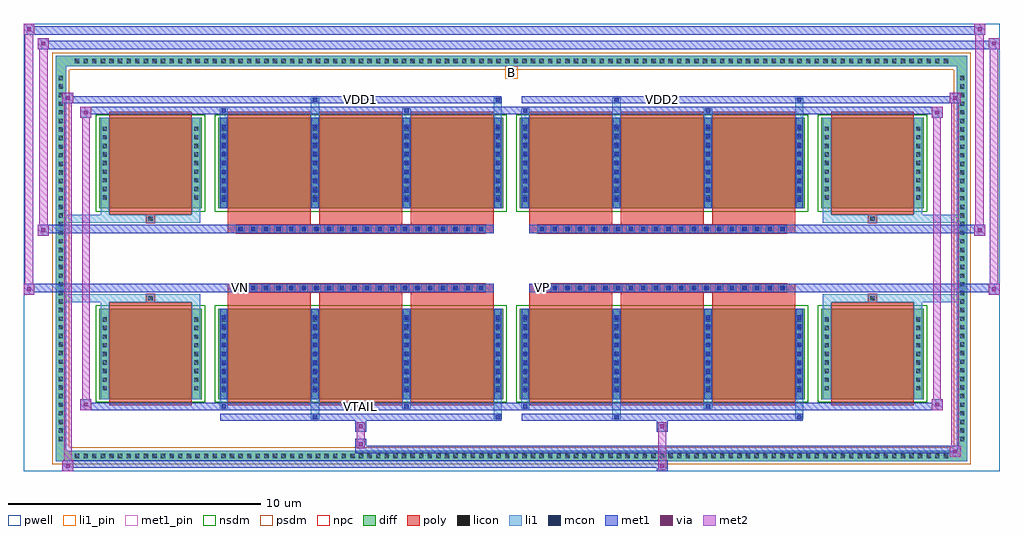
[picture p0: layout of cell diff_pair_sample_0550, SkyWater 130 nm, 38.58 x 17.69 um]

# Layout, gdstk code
import gdstk
lib = gdstk.Library(unit=1e-6, precision=5e-09)
def R(c, l, rs):  # rectangles x0, y0, x1, y1
    for r in rs: c.add(gdstk.rectangle(r[:2], r[2:], *l))
def A(c, l, x, y, w, h, nx, ny, dx, dy):  # array of equal rectangles
    R(c, l, [(x+i*dx, y+j*dy, x+i*dx+w, y+j*dy+h) for i in range(nx) for j in range(ny)])
def P(c, l, *ps):  # polygons
    for p in ps: c.add(gdstk.Polygon(p, *l))
pwell = (64, 44)
diff = (65, 20)
poly = (66, 20)
licon = (66, 44)
li1_pin = (67, 16)
li1 = (67, 20)
mcon = (67, 44)
met1_pin = (68, 16)
met1 = (68, 20)
via = (68, 44)
met2 = (69, 20)
nsdm = (93, 44)
psdm = (94, 20)
npc = (95, 20)

diff_pair_sample_0550 = lib.new_cell('diff_pair_sample_0550')
R(diff_pair_sample_0550, pwell, [(-19.29,-8.41,19.29,9.28), (-16.61,-6.6,-0.01,-0.8), (0.01,-6.6,16.61,-0.8), (-16.61,0.8,-0.01,6.6), (0.01,0.8,16.61,6.6)])
A(diff_pair_sample_0550, diff, -17.375, -8.01, 0.41, 0.41, 102, 2, 0.34, 15.61)
A(diff_pair_sample_0550, diff, -18.02, -7.345, 0.41, 0.41, 1, 43, 0, 0.34)
A(diff_pair_sample_0550, diff, 17.61, -7.345, 0.41, 0.41, 1, 43, 0, 0.34)
R(diff_pair_sample_0550, diff, [(-17.375,-8.01,17.375,-7.6), (-18.02,-7.345,-17.61,7.345), (17.61,-7.345,18.02,7.345), (-16.3,-5.555,-12.24,-1.985), (-11.6,-5.555,-0.32,-1.985), (0.32,-5.555,11.6,-1.985), (12.24,-5.555,16.3,-1.985), (-16.3,1.985,-12.24,5.555), (-11.6,1.985,-0.32,5.555), (0.32,1.985,11.6,5.555), (12.24,1.985,16.3,5.555), (-17.375,7.6,17.375,8.01)])
P(diff_pair_sample_0550, diff, [(18.02,8.01),(-18.02,8.01),(-18.02,-7.6),(-17.61,-7.6),(-17.61,7.6),(17.61,7.6),(17.61,-7.6),(-17.61,-7.6),(-18.02,-7.6),(-18.02,-8.01),(18.02,-8.01)])
A(diff_pair_sample_0550, poly, -11.21, -5.805, 3.28, 4.07, 3, 2, 3.61, 7.54)
A(diff_pair_sample_0550, poly, 0.71, -5.805, 3.28, 4.07, 3, 2, 3.61, 7.54)
A(diff_pair_sample_0550, poly, -11.21, -1.735, 3.28, 0.405, 3, 2, 3.61, 3.065)
A(diff_pair_sample_0550, poly, 0.71, -1.735, 3.28, 0.405, 3, 2, 3.61, 3.065)
A(diff_pair_sample_0550, poly, -10.875, -1.33, 0.33, 0.33, 20, 2, 0.5, 2.33)
A(diff_pair_sample_0550, poly, 1.045, -1.33, 0.33, 0.33, 20, 2, 0.5, 2.33)
R(diff_pair_sample_0550, poly, [(-15.91,-5.805,-12.63,-1.735), (12.63,-5.805,15.91,-1.735), (-14.435,-1.735,-14.105,-1.405), (-14.435,-1.735,-14.105,-1.405), (14.105,-1.735,14.435,-1.405), (14.105,-1.735,14.435,-1.405), (-11.21,-1.33,-0.71,-1), (0.71,-1.33,11.21,-1), (-11.21,1,-0.71,1.33), (0.71,1,11.21,1.33), (-14.435,1.405,-14.105,1.735), (-14.435,1.405,-14.105,1.735), (14.105,1.405,14.435,1.735), (14.105,1.405,14.435,1.735), (-15.91,1.735,-12.63,5.805), (12.63,1.735,15.91,5.805)])
A(diff_pair_sample_0550, licon, -17.255, -7.89, 0.17, 0.17, 102, 2, 0.34, 15.61)
A(diff_pair_sample_0550, licon, -17.9, -7.225, 0.17, 0.17, 1, 43, 0, 0.34)
A(diff_pair_sample_0550, licon, 17.73, -7.225, 0.17, 0.17, 1, 43, 0, 0.34)
A(diff_pair_sample_0550, licon, -16.16, -5.215, 0.17, 0.17, 1, 9, 0, 0.34)
A(diff_pair_sample_0550, licon, -12.55, -5.215, 0.17, 0.17, 1, 9, 0, 0.34)
A(diff_pair_sample_0550, licon, -11.46, -5.215, 0.17, 0.17, 4, 9, 3.61, 0.34)
A(diff_pair_sample_0550, licon, 0.46, -5.215, 0.17, 0.17, 4, 9, 3.61, 0.34)
A(diff_pair_sample_0550, licon, 12.38, -5.215, 0.17, 0.17, 1, 9, 0, 0.34)
A(diff_pair_sample_0550, licon, 15.99, -5.215, 0.17, 0.17, 1, 9, 0, 0.34)
A(diff_pair_sample_0550, licon, -10.795, -1.25, 0.17, 0.17, 20, 2, 0.5, 2.33)
A(diff_pair_sample_0550, licon, 1.125, -1.25, 0.17, 0.17, 20, 2, 0.5, 2.33)
A(diff_pair_sample_0550, licon, -16.16, 2.325, 0.17, 0.17, 1, 9, 0, 0.34)
A(diff_pair_sample_0550, licon, -12.55, 2.325, 0.17, 0.17, 1, 9, 0, 0.34)
A(diff_pair_sample_0550, licon, -11.46, 2.325, 0.17, 0.17, 4, 9, 3.61, 0.34)
A(diff_pair_sample_0550, licon, 0.46, 2.325, 0.17, 0.17, 4, 9, 3.61, 0.34)
A(diff_pair_sample_0550, licon, 12.38, 2.325, 0.17, 0.17, 1, 9, 0, 0.34)
A(diff_pair_sample_0550, licon, 15.99, 2.325, 0.17, 0.17, 1, 9, 0, 0.34)
R(diff_pair_sample_0550, licon, [(-14.355,-1.655,-14.185,-1.485), (14.185,-1.655,14.355,-1.485), (-14.355,1.485,-14.185,1.655), (14.185,1.485,14.355,1.655)])
R(diff_pair_sample_0550, li1_pin, [(-0.25,7.1,0.25,7.6)])
A(diff_pair_sample_0550, li1, -17.335, -7.97, 0.33, 0.33, 102, 2, 0.34, 15.61)
A(diff_pair_sample_0550, li1, -17.98, -7.305, 0.33, 0.33, 1, 43, 0, 0.34)
A(diff_pair_sample_0550, li1, 17.65, -7.305, 0.33, 0.33, 1, 43, 0, 0.34)
A(diff_pair_sample_0550, li1, -11.54, -5.555, 0.33, 3.57, 4, 2, 3.61, 7.54)
A(diff_pair_sample_0550, li1, 0.38, -5.555, 0.33, 3.57, 4, 2, 3.61, 7.54)
A(diff_pair_sample_0550, li1, -16.24, -5.295, 0.33, 0.33, 1, 9, 0, 0.34)
A(diff_pair_sample_0550, li1, -12.63, -5.295, 0.33, 0.33, 1, 9, 0, 0.34)
A(diff_pair_sample_0550, li1, -11.54, -5.295, 0.33, 0.33, 4, 9, 3.61, 0.34)
A(diff_pair_sample_0550, li1, -11.46, -5.295, 0.17, 0.17, 4, 9, 3.61, 0.36)
A(diff_pair_sample_0550, li1, -11.46, -5.295, 0.17, 3.05, 4, 2, 3.61, 7.54)
A(diff_pair_sample_0550, li1, 0.38, -5.295, 0.33, 0.33, 4, 9, 3.61, 0.34)
A(diff_pair_sample_0550, li1, 0.46, -5.295, 0.17, 0.17, 4, 9, 3.61, 0.36)
A(diff_pair_sample_0550, li1, 0.46, -5.295, 0.17, 3.05, 4, 2, 3.61, 7.54)
A(diff_pair_sample_0550, li1, 12.3, -5.295, 0.33, 0.33, 1, 9, 0, 0.34)
A(diff_pair_sample_0550, li1, 15.91, -5.295, 0.33, 0.33, 1, 9, 0, 0.34)
A(diff_pair_sample_0550, li1, -10.875, -1.33, 0.33, 0.33, 20, 2, 0.5, 2.33)
A(diff_pair_sample_0550, li1, 1.045, -1.33, 0.33, 0.33, 20, 2, 0.5, 2.33)
A(diff_pair_sample_0550, li1, -16.24, 2.245, 0.33, 0.33, 1, 9, 0, 0.34)
A(diff_pair_sample_0550, li1, -12.63, 2.245, 0.33, 0.33, 1, 9, 0, 0.34)
A(diff_pair_sample_0550, li1, -11.54, 2.245, 0.33, 0.33, 4, 9, 3.61, 0.34)
A(diff_pair_sample_0550, li1, -11.46, 2.245, 0.17, 0.17, 4, 9, 3.61, 0.36)
A(diff_pair_sample_0550, li1, 0.38, 2.245, 0.33, 0.33, 4, 9, 3.61, 0.34)
A(diff_pair_sample_0550, li1, 0.46, 2.245, 0.17, 0.17, 4, 9, 3.61, 0.36)
A(diff_pair_sample_0550, li1, 12.3, 2.245, 0.33, 0.33, 1, 9, 0, 0.34)
A(diff_pair_sample_0550, li1, 15.91, 2.245, 0.33, 0.33, 1, 9, 0, 0.34)
R(diff_pair_sample_0550, li1, [(-18.02,-8.01,-17.61,-7.6), (-18.02,-8.01,-17.61,-7.6), (-17.61,-8.01,17.61,-7.6), (17.61,-8.01,18.02,-7.6), (17.61,-8.01,18.02,-7.6), (-18.02,-7.6,-17.61,7.6), (17.61,-7.6,18.02,7.6), (-7.93,-6.36,-7.6,-5.555), (-7.85,-6.36,-7.68,-6.19), (-0.71,-6.36,-0.38,-5.555), (-0.63,-6.36,-0.46,-6.19), (3.99,-6.36,4.32,-5.555), (4.07,-6.36,4.24,-6.19), (11.21,-6.36,11.54,-5.555), (11.29,-6.36,11.46,-6.19), (-11.54,-5.93,-11.21,-5.555), (-11.46,-5.93,-11.29,-5.76), (-4.32,-5.93,-3.99,-5.555), (-4.24,-5.93,-4.07,-5.76), (0.38,-5.93,0.71,-5.555), (0.46,-5.93,0.63,-5.76), (7.6,-5.93,7.93,-5.555), (7.68,-5.93,7.85,-5.76), (-16.24,-5.555,-15.91,-1.985), (-12.63,-5.555,-12.3,-1.985), (12.3,-5.555,12.63,-1.985), (15.91,-5.555,16.24,-1.985), (-16.24,-1.985,-15.91,-1.405), (-12.63,-1.985,-12.3,-1.405), (12.3,-1.985,12.63,-1.405), (15.91,-1.985,16.24,-1.405), (-18.02,-1.735,-14.435,-1.405), (-16.24,-1.735,-14.435,-1.405), (-14.435,-1.735,-14.105,-1.405), (-14.105,-1.735,-12.3,-1.405), (12.3,-1.735,14.105,-1.405), (14.105,-1.735,14.435,-1.405), (14.105,-1.735,18.02,-1.405), (14.435,-1.735,16.24,-1.405), (-18.02,1.405,-14.435,1.735), (-16.24,1.405,-14.435,1.735), (-16.24,1.405,-15.91,1.985), (-14.435,1.405,-14.105,1.735), (-14.105,1.405,-12.3,1.735), (-12.63,1.405,-12.3,1.985), (12.3,1.405,14.105,1.735), (12.3,1.405,12.63,1.985), (14.105,1.405,14.435,1.735), (14.105,1.405,18.02,1.735), (14.435,1.405,16.24,1.735), (15.91,1.405,16.24,1.985), (-16.24,1.985,-15.91,5.555), (-12.63,1.985,-12.3,5.555), (12.3,1.985,12.63,5.555), (15.91,1.985,16.24,5.555), (-11.54,5.555,-11.21,5.93), (-7.93,5.555,-7.6,6.36), (-4.32,5.555,-3.99,5.93), (-0.71,5.555,-0.38,6.36), (0.38,5.555,0.71,5.93), (3.99,5.555,4.32,6.36), (7.6,5.555,7.93,5.93), (11.21,5.555,11.54,6.36), (-11.46,5.76,-11.29,5.93), (-4.24,5.76,-4.07,5.93), (0.46,5.76,0.63,5.93), (7.68,5.76,7.85,5.93), (-7.85,6.19,-7.68,6.36), (-0.63,6.19,-0.46,6.36), (4.07,6.19,4.24,6.36), (11.29,6.19,11.46,6.36), (-18.02,7.6,-17.61,8.01), (-18.02,7.6,-17.61,8.01), (-17.61,7.6,17.61,8.01), (17.61,7.6,18.02,8.01), (17.61,7.6,18.02,8.01)])
A(diff_pair_sample_0550, mcon, -11.46, -5.295, 0.17, 0.17, 4, 9, 3.61, 0.36)
A(diff_pair_sample_0550, mcon, 0.46, -5.295, 0.17, 0.17, 4, 9, 3.61, 0.36)
A(diff_pair_sample_0550, mcon, -10.795, -1.25, 0.17, 0.17, 20, 2, 0.5, 2.33)
A(diff_pair_sample_0550, mcon, 1.125, -1.25, 0.17, 0.17, 20, 2, 0.5, 2.33)
A(diff_pair_sample_0550, mcon, -11.46, 2.245, 0.17, 0.17, 4, 9, 3.61, 0.36)
A(diff_pair_sample_0550, mcon, 0.46, 2.245, 0.17, 0.17, 4, 9, 3.61, 0.36)
R(diff_pair_sample_0550, mcon, [(-7.85,-6.36,-7.68,-6.19), (-0.63,-6.36,-0.46,-6.19), (4.07,-6.36,4.24,-6.19), (11.29,-6.36,11.46,-6.19), (-11.46,-5.93,-11.29,-5.76), (-4.24,-5.93,-4.07,-5.76), (0.46,-5.93,0.63,-5.76), (7.68,-5.93,7.85,-5.76), (-11.46,5.76,-11.29,5.93), (-4.24,5.76,-4.07,5.93), (0.46,5.76,0.63,5.93), (7.68,5.76,7.85,5.93), (-7.85,6.19,-7.68,6.36), (-0.63,6.19,-0.46,6.36), (4.07,6.19,4.24,6.36), (11.29,6.19,11.46,6.36)])
R(diff_pair_sample_0550, met1_pin, [(-6.095,-5.97,-5.825,-5.7), (-10.845,-1.29,-10.575,-1.02), (1.075,-1.29,1.345,-1.02), (-6.095,6.15,-5.825,6.42), (5.825,6.15,6.095,6.42)])
A(diff_pair_sample_0550, met1, -11.52, -5.555, 0.29, 3.57, 4, 2, 3.61, 7.54)
A(diff_pair_sample_0550, met1, 0.4, -5.555, 0.29, 3.57, 4, 2, 3.61, 7.54)
A(diff_pair_sample_0550, met1, -11.52, -5.355, 0.29, 0.29, 4, 9, 3.61, 0.36)
A(diff_pair_sample_0550, met1, 0.4, -5.355, 0.29, 0.29, 4, 9, 3.61, 0.36)
A(diff_pair_sample_0550, met1, -10.855, -1.31, 0.29, 0.29, 20, 2, 0.5, 2.33)
A(diff_pair_sample_0550, met1, 1.065, -1.31, 0.29, 0.29, 20, 2, 0.5, 2.33)
A(diff_pair_sample_0550, met1, -11.52, 2.185, 0.29, 0.29, 4, 9, 3.61, 0.36)
A(diff_pair_sample_0550, met1, 0.4, 2.185, 0.29, 0.29, 4, 9, 3.61, 0.36)
R(diff_pair_sample_0550, met1, [(-17.75,-8.41,-17.32,-7.98), (5.745,-8.41,6.175,-7.98), (-17.75,-8.27,6.175,-7.98), (17.32,-7.84,17.75,-7.41), (-6.175,-7.7,17.75,-7.41), (-6.175,-7.56,-5.745,-7.13), (-6.175,-6.85,-5.745,-6.42), (5.745,-6.85,6.175,-6.42), (-11.52,-6.42,-0.4,-6.13), (-7.91,-6.42,-7.62,-6.13), (-0.69,-6.42,-0.4,-6.13), (0.4,-6.42,11.52,-6.13), (4.01,-6.42,4.3,-6.13), (11.23,-6.42,11.52,-6.13), (-17.04,-5.99,-16.61,-5.56), (-17.04,-5.99,-11.52,-5.7), (-11.52,-5.99,-11.23,-5.7), (-11.52,-5.99,-0.4,-5.7), (-4.3,-5.99,-4.01,-5.7), (-0.4,-5.99,0.4,-5.7), (0.4,-5.99,0.69,-5.7), (0.4,-5.99,11.52,-5.7), (7.62,-5.99,7.91,-5.7), (11.52,-5.99,17.04,-5.7), (16.61,-5.99,17.04,-5.56), (-19.29,-1.43,-18.86,-1), (18.86,-1.43,19.29,-1), (-19.29,-1.33,-0.71,-1), (-11.21,-1.33,-0.71,-1), (0.71,-1.33,11.21,-1), (0.71,-1.33,19.29,-1), (-18.72,0.9,-18.29,1.33), (18.29,0.9,18.72,1.33), (-18.72,1,-11.21,1.33), (-11.21,1,-0.71,1.33), (0.71,1,11.21,1.33), (11.21,1,18.72,1.33), (-17.04,5.56,-16.61,5.99), (16.61,5.56,17.04,5.99), (-17.04,5.7,-11.52,5.99), (-11.52,5.7,-11.23,5.99), (-11.52,5.7,-0.4,5.99), (-4.3,5.7,-4.01,5.99), (-0.4,5.7,0.4,5.99), (0.4,5.7,0.69,5.99), (0.4,5.7,11.52,5.99), (7.62,5.7,7.91,5.99), (11.52,5.7,17.04,5.99), (-17.75,6.13,-17.32,6.56), (-17.75,6.13,-11.52,6.42), (-11.52,6.13,-0.4,6.42), (-7.91,6.13,-7.62,6.42), (-0.69,6.13,-0.4,6.42), (0.4,6.13,11.52,6.42), (4.01,6.13,4.3,6.42), (11.23,6.13,11.52,6.42), (11.52,6.13,17.75,6.42), (17.32,6.13,17.75,6.56), (-18.72,8.28,-18.29,8.71), (-18.72,8.28,-16.61,8.61), (-16.61,8.28,16.61,8.61), (16.61,8.28,19.29,8.61), (18.86,8.28,19.29,8.71), (-19.29,8.85,-18.86,9.28), (-19.29,8.85,-16.61,9.18), (-16.61,8.85,16.61,9.18), (16.61,8.85,18.72,9.18), (18.29,8.85,18.72,9.28)])
R(diff_pair_sample_0550, via, [(-17.61,-8.27,-17.46,-8.12), (5.885,-8.27,6.035,-8.12), (17.46,-7.7,17.61,-7.55), (-6.035,-7.42,-5.885,-7.27), (-6.035,-6.71,-5.885,-6.56), (5.885,-6.71,6.035,-6.56), (-16.9,-5.85,-16.75,-5.7), (16.75,-5.85,16.9,-5.7), (-19.15,-1.29,-19,-1.14), (19,-1.29,19.15,-1.14), (-18.58,1.04,-18.43,1.19), (18.43,1.04,18.58,1.19), (-16.9,5.7,-16.75,5.85), (16.75,5.7,16.9,5.85), (-17.61,6.27,-17.46,6.42), (17.46,6.27,17.61,6.42), (-18.58,8.42,-18.43,8.57), (19,8.42,19.15,8.57), (-19.15,8.99,-19,9.14), (18.43,8.99,18.58,9.14)])
R(diff_pair_sample_0550, met2, [(-17.75,-8.41,-17.32,-7.98), (-17.68,-8.41,-17.39,6.56), (-17.39,-8.41,-17.32,-7.98), (-17.7,-8.36,-17.37,-8.03), (5.795,-8.36,6.125,-8.03), (5.795,-8.03,6.125,-6.8), (17.32,-7.84,17.75,-7.41), (17.39,-7.84,17.68,6.56), (17.68,-7.84,17.75,-7.41), (17.37,-7.79,17.7,-7.46), (-6.125,-7.51,-5.795,-7.18), (-6.125,-7.18,-5.795,-6.8), (-6.125,-6.8,-5.795,-6.47), (5.795,-6.8,6.125,-6.47), (-17.04,-5.99,-16.61,-5.56), (-16.97,-5.99,-16.68,5.99), (-16.68,-5.99,-16.61,-5.56), (16.61,-5.99,17.04,-5.56), (16.68,-5.99,16.97,5.99), (16.97,-5.99,17.04,-5.56), (-16.99,-5.94,-16.66,-5.61), (16.66,-5.94,16.99,-5.61), (-19.29,-1.43,-18.86,-1), (-19.24,-1.43,-18.91,9.28), (-18.91,-1.43,-18.86,-1), (18.86,-1.43,19.29,-1), (18.91,-1.43,19.24,8.71), (19.24,-1.43,19.29,-1), (-19.24,-1.38,-18.91,-1.05), (18.91,-1.38,19.24,-1.05), (-18.72,0.9,-18.29,1.33), (-18.67,0.9,-18.34,8.71), (-18.34,0.9,-18.29,1.33), (18.29,0.9,18.72,1.33), (18.34,0.9,18.67,9.28), (18.67,0.9,18.72,1.33), (-18.67,0.95,-18.34,1.28), (18.34,0.95,18.67,1.28), (-17.04,5.56,-16.61,5.99), (-16.68,5.56,-16.61,5.99), (16.61,5.56,17.04,5.99), (16.97,5.56,17.04,5.99), (-16.99,5.61,-16.66,5.94), (16.66,5.61,16.99,5.94), (-17.75,6.13,-17.32,6.56), (-17.39,6.13,-17.32,6.56), (17.32,6.13,17.75,6.56), (17.68,6.13,17.75,6.56), (-17.7,6.18,-17.37,6.51), (17.37,6.18,17.7,6.51), (-18.72,8.28,-18.29,8.71), (-18.34,8.28,-18.29,8.71), (18.86,8.28,19.29,8.71), (19.24,8.28,19.29,8.71), (-18.67,8.33,-18.34,8.66), (18.91,8.33,19.24,8.66), (-19.29,8.85,-18.86,9.28), (-18.91,8.85,-18.86,9.28), (18.29,8.85,18.72,9.28), (18.67,8.85,18.72,9.28), (-19.24,8.9,-18.91,9.23), (18.34,8.9,18.67,9.23)])
R(diff_pair_sample_0550, nsdm, [(-16.43,-5.685,-12.11,-1.855), (-11.73,-5.685,-0.19,-1.855), (0.19,-5.685,11.73,-1.855), (12.11,-5.685,16.43,-1.855), (-16.43,1.855,-12.11,5.685), (-11.73,1.855,-0.19,5.685), (0.19,1.855,11.73,5.685), (12.11,1.855,16.43,5.685)])
P(diff_pair_sample_0550, psdm, [(18.15,8.14),(-18.15,8.14),(-18.15,-7.47),(-17.48,-7.47),(-17.48,7.47),(17.48,7.47),(17.48,-7.47),(-17.48,-7.47),(-18.15,-7.47),(-18.15,-8.14),(18.15,-8.14)])
A(diff_pair_sample_0550, npc, -10.895, -1.35, 0.37, 0.37, 20, 2, 0.5, 2.33)
A(diff_pair_sample_0550, npc, 1.025, -1.35, 0.37, 0.37, 20, 2, 0.5, 2.33)
R(diff_pair_sample_0550, npc, [(-14.455,-1.755,-14.085,-1.385), (14.085,-1.755,14.455,-1.385), (-10.895,-1.35,-10.025,-0.98), (-10.895,-1.35,-10.025,-0.98), (-10.395,-1.35,-9.525,-0.98), (-10.395,-1.35,-9.525,-0.98), (-9.895,-1.35,-9.025,-0.98), (-9.895,-1.35,-9.025,-0.98), (-9.395,-1.35,-8.525,-0.98), (-9.395,-1.35,-8.525,-0.98), (-8.895,-1.35,-8.025,-0.98), (-8.895,-1.35,-8.025,-0.98), (-8.395,-1.35,-7.525,-0.98), (-8.395,-1.35,-7.525,-0.98), (-7.895,-1.35,-7.025,-0.98), (-7.895,-1.35,-7.025,-0.98), (-7.395,-1.35,-6.525,-0.98), (-7.395,-1.35,-6.525,-0.98), (-6.895,-1.35,-6.025,-0.98), (-6.895,-1.35,-6.025,-0.98), (-6.395,-1.35,-5.525,-0.98), (-6.395,-1.35,-5.525,-0.98), (-5.895,-1.35,-5.025,-0.98), (-5.895,-1.35,-5.025,-0.98), (-5.395,-1.35,-4.525,-0.98), (-5.395,-1.35,-4.525,-0.98), (-4.895,-1.35,-4.025,-0.98), (-4.895,-1.35,-4.025,-0.98), (-4.395,-1.35,-3.525,-0.98), (-4.395,-1.35,-3.525,-0.98), (-3.895,-1.35,-3.025,-0.98), (-3.895,-1.35,-3.025,-0.98), (-3.395,-1.35,-2.525,-0.98), (-3.395,-1.35,-2.525,-0.98), (-2.895,-1.35,-2.025,-0.98), (-2.895,-1.35,-2.025,-0.98), (-2.395,-1.35,-1.525,-0.98), (-2.395,-1.35,-1.525,-0.98), (-1.895,-1.35,-1.025,-0.98), (-1.895,-1.35,-1.025,-0.98), (1.025,-1.35,1.895,-0.98), (1.025,-1.35,1.895,-0.98), (1.525,-1.35,2.395,-0.98), (1.525,-1.35,2.395,-0.98), (2.025,-1.35,2.895,-0.98), (2.025,-1.35,2.895,-0.98), (2.525,-1.35,3.395,-0.98), (2.525,-1.35,3.395,-0.98), (3.025,-1.35,3.895,-0.98), (3.025,-1.35,3.895,-0.98), (3.525,-1.35,4.395,-0.98), (3.525,-1.35,4.395,-0.98), (4.025,-1.35,4.895,-0.98), (4.025,-1.35,4.895,-0.98), (4.525,-1.35,5.395,-0.98), (4.525,-1.35,5.395,-0.98), (5.025,-1.35,5.895,-0.98), (5.025,-1.35,5.895,-0.98), (5.525,-1.35,6.395,-0.98), (5.525,-1.35,6.395,-0.98), (6.025,-1.35,6.895,-0.98), (6.025,-1.35,6.895,-0.98), (6.525,-1.35,7.395,-0.98), (6.525,-1.35,7.395,-0.98), (7.025,-1.35,7.895,-0.98), (7.025,-1.35,7.895,-0.98), (7.525,-1.35,8.395,-0.98), (7.525,-1.35,8.395,-0.98), (8.025,-1.35,8.895,-0.98), (8.025,-1.35,8.895,-0.98), (8.525,-1.35,9.395,-0.98), (8.525,-1.35,9.395,-0.98), (9.025,-1.35,9.895,-0.98), (9.025,-1.35,9.895,-0.98), (9.525,-1.35,10.395,-0.98), (9.525,-1.35,10.395,-0.98), (10.025,-1.35,10.895,-0.98), (10.025,-1.35,10.895,-0.98), (-10.895,0.98,-10.025,1.35), (-10.895,0.98,-10.025,1.35), (-10.395,0.98,-9.525,1.35), (-10.395,0.98,-9.525,1.35), (-9.895,0.98,-9.025,1.35), (-9.895,0.98,-9.025,1.35), (-9.395,0.98,-8.525,1.35), (-9.395,0.98,-8.525,1.35), (-8.895,0.98,-8.025,1.35), (-8.895,0.98,-8.025,1.35), (-8.395,0.98,-7.525,1.35), (-8.395,0.98,-7.525,1.35), (-7.895,0.98,-7.025,1.35), (-7.895,0.98,-7.025,1.35), (-7.395,0.98,-6.525,1.35), (-7.395,0.98,-6.525,1.35), (-6.895,0.98,-6.025,1.35), (-6.895,0.98,-6.025,1.35), (-6.395,0.98,-5.525,1.35), (-6.395,0.98,-5.525,1.35), (-5.895,0.98,-5.025,1.35), (-5.895,0.98,-5.025,1.35), (-5.395,0.98,-4.525,1.35), (-5.395,0.98,-4.525,1.35), (-4.895,0.98,-4.025,1.35), (-4.895,0.98,-4.025,1.35), (-4.395,0.98,-3.525,1.35), (-4.395,0.98,-3.525,1.35), (-3.895,0.98,-3.025,1.35), (-3.895,0.98,-3.025,1.35), (-3.395,0.98,-2.525,1.35), (-3.395,0.98,-2.525,1.35), (-2.895,0.98,-2.025,1.35), (-2.895,0.98,-2.025,1.35), (-2.395,0.98,-1.525,1.35), (-2.395,0.98,-1.525,1.35), (-1.895,0.98,-1.025,1.35), (-1.895,0.98,-1.025,1.35), (1.025,0.98,1.895,1.35), (1.025,0.98,1.895,1.35), (1.525,0.98,2.395,1.35), (1.525,0.98,2.395,1.35), (2.025,0.98,2.895,1.35), (2.025,0.98,2.895,1.35), (2.525,0.98,3.395,1.35), (2.525,0.98,3.395,1.35), (3.025,0.98,3.895,1.35), (3.025,0.98,3.895,1.35), (3.525,0.98,4.395,1.35), (3.525,0.98,4.395,1.35), (4.025,0.98,4.895,1.35), (4.025,0.98,4.895,1.35), (4.525,0.98,5.395,1.35), (4.525,0.98,5.395,1.35), (5.025,0.98,5.895,1.35), (5.025,0.98,5.895,1.35), (5.525,0.98,6.395,1.35), (5.525,0.98,6.395,1.35), (6.025,0.98,6.895,1.35), (6.025,0.98,6.895,1.35), (6.525,0.98,7.395,1.35), (6.525,0.98,7.395,1.35), (7.025,0.98,7.895,1.35), (7.025,0.98,7.895,1.35), (7.525,0.98,8.395,1.35), (7.525,0.98,8.395,1.35), (8.025,0.98,8.895,1.35), (8.025,0.98,8.895,1.35), (8.525,0.98,9.395,1.35), (8.525,0.98,9.395,1.35), (9.025,0.98,9.895,1.35), (9.025,0.98,9.895,1.35), (9.525,0.98,10.395,1.35), (9.525,0.98,10.395,1.35), (10.025,0.98,10.895,1.35), (10.025,0.98,10.895,1.35), (-14.455,1.385,-14.085,1.755), (14.085,1.385,14.455,1.755)])
diff_pair_sample_0550.add(gdstk.Label('VTAIL', (-5.96,-5.835), layer=68, texttype=5))
diff_pair_sample_0550.add(gdstk.Label('VN', (-10.71,-1.155), layer=68, texttype=5))
diff_pair_sample_0550.add(gdstk.Label('VP', (1.21,-1.155), layer=68, texttype=5))
diff_pair_sample_0550.add(gdstk.Label('B', (0,7.35), layer=67, texttype=5))
diff_pair_sample_0550.add(gdstk.Label('VDD2', (5.96,6.285), layer=68, texttype=5))
diff_pair_sample_0550.add(gdstk.Label('VDD1', (-5.96,6.285), layer=68, texttype=5))

lib.write_gds('diff_pair_sample_0550.gds')
